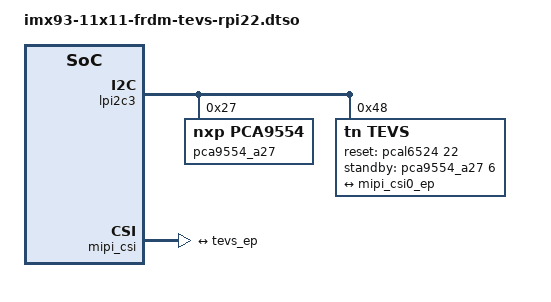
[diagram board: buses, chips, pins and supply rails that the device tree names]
// SPDX-License-Identifier: (GPL-2.0+ OR MIT)
/*
 * Copyright 2025 NXP
 */

/dts-v1/;
/plugin/;

#include "imx93-pinfunc.h"
#include <dt-bindings/gpio/gpio.h>

&lpi2c3 {
	#address-cells = <1>;
	#size-cells = <0>;
	/delete-node/ap1302_mipi@3c;

	pca9554_a27: pca9554@27 {
		compatible = "nxp,pca9554";
		pinctrl-names = "default";
		reg = <0x27>;
		gpio-controller;
		#gpio-cells = <2>;
		status = "okay";
		gpio-line-names = "EXPOSURE_TRIG_IN1", "FLASH_OUT1", "CAM_SHUTTER1", "XVS1",
							"CSI1_PDB", "CSI1_INT", "INFO_TRIG_IN1", "CSI1_RST_N";
	};

	tevs: tevs@48 {
		compatible = "tn,tevs";
		reg = <0x48>;
		status = "okay";

		reset-gpios   = <&pcal6524 22 GPIO_ACTIVE_HIGH>;
		standby-gpios = <&pca9554_a27 6 GPIO_ACTIVE_HIGH>;

		port {
			tevs_ep: endpoint {
				remote-endpoint = <&mipi_csi0_ep>;
				data-lanes = <1 2>;
				clock-lanes = <0>;
				clock-noncontinuous;
				link-frequencies = /bits/ 64 <400000000>;
			};
		};
	};
};

&mipi_csi {
	status = "okay";

	ports {
		/delete-node/port@0;

		port@0{
			mipi_csi0_ep: endpoint {
				remote-endpoint = <&tevs_ep>;
				data-lanes = <1 2>;
			};
		};
	};
};
